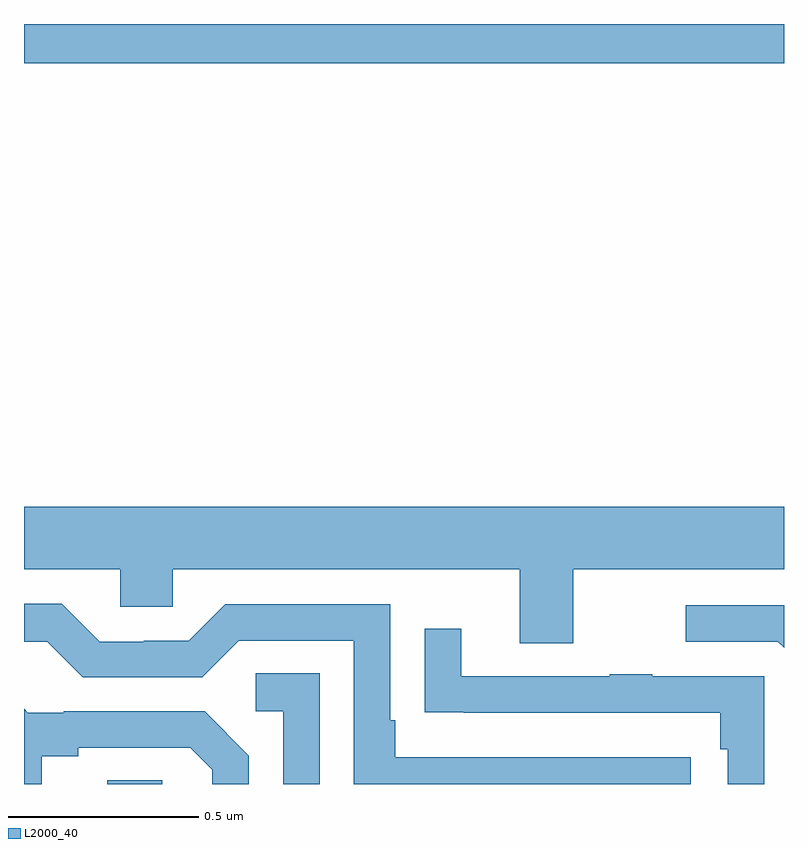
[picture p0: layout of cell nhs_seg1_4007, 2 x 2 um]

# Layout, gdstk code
import gdstk
lib = gdstk.Library(unit=1e-6, precision=1e-09)
def R(c, l, rs):  # rectangles x0, y0, x1, y1
    for r in rs: c.add(gdstk.rectangle(r[:2], r[2:], *l))
def P(c, l, *ps):  # polygons
    for p in ps: c.add(gdstk.Polygon(p, *l))
L2000_40 = (2000, 40)

nhs_seg1_4007 = lib.new_cell('nhs_seg1_4007')
R(nhs_seg1_4007, L2000_40, [(161.219,519.199,161.364,519.209), (161,521.096,163,521.199)])
P(nhs_seg1_4007, L2000_40, [(162.445,519.764),(163,519.764),(163,519.928),(161,519.928),(161,519.764),(161.253,519.764),(161.253,519.666),(161.391,519.666),(161.391,519.764),(162.305,519.764),(162.305,519.57),(162.445,519.57)],
  [(162.754,519.27),(161.977,519.27),(161.977,519.367),(161.964,519.367),(161.964,519.672),(161.529,519.672),(161.433,519.576),(161.315,519.576),(161.315,519.573),(161.199,519.573),(161.099,519.673),(161,519.673),(161,519.573),(161.061,519.573),(161.154,519.48),(161.469,519.48),(161.565,519.576),(161.868,519.576),(161.868,519.199),(162.754,519.199)],
  [(163,519.669),(162.741,519.669),(162.741,519.573),(162.984,519.573),(163,519.557)],
  [(162.948,519.483),(162.653,519.483),(162.653,519.488),(162.541,519.488),(162.541,519.483),(162.151,519.483),(162.151,519.607),(162.055,519.607),(162.055,519.388),(162.157,519.388),(162.157,519.387),(162.832,519.387),(162.832,519.29),(162.852,519.29),(162.852,519.199),(162.948,519.199)],
  [(161.778,519.491),(161.61,519.491),(161.61,519.39),(161.682,519.39),(161.682,519.199),(161.778,519.199)],
  [(161.047,519.272),(161.143,519.272),(161.143,519.294),(161.438,519.294),(161.495,519.237),(161.495,519.199),(161.592,519.199),(161.592,519.274),(161.476,519.39),(161.104,519.39),(161.104,519.387),(161.01,519.387),(161,519.397),(161,519.199),(161.047,519.199)])

lib.write_gds('nhs_seg1_4007.gds')
